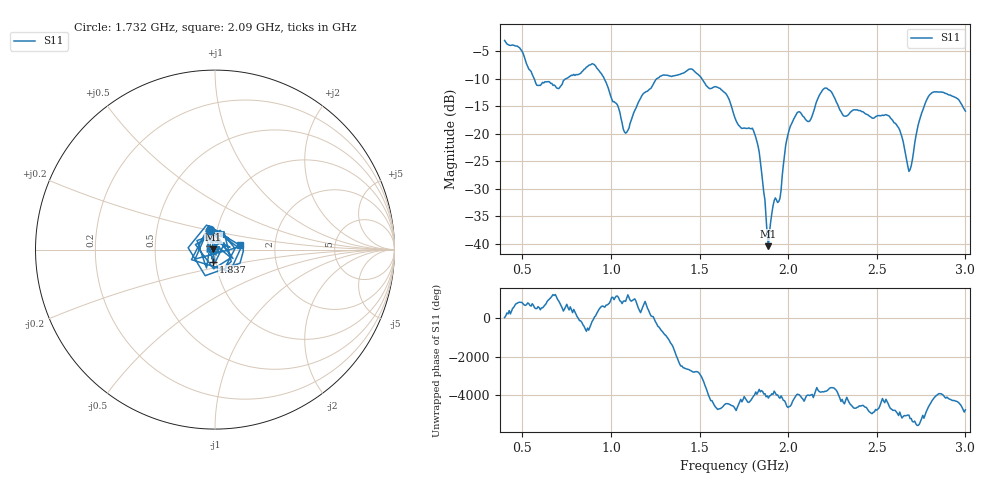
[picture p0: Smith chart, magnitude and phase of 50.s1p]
!Created with skrf (http://scikit-rf.org).
# Hz S RI R 50.0
!freq ReS11 ImS11
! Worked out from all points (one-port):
!   401 points, 400 MHz to 3 GHz, reference 50 ohm
!   lowest |S11| = -40.5 dB at 1.889 GHz (marker M1), VSWR 1.02, Z = 49.1 + j0.144 ohm
!   |S11| at or under -10 dB: 567.3 MHz to 744.1 MHz (176.8 MHz wide, 27 % of centre); 962.8 MHz to 1.257 GHz (294.5 MHz wide, 26.5 % of centre); 1.514 GHz to end of sweep
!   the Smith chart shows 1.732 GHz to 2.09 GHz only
!   S11 on the Smith chart (normalised r, x): 1.732 GHz: 0.93, +0.21; 1.837 GHz: 0.97, -0.13; 2.09 GHz: 1.32, +0.06
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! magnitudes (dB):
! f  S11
! 400 MHz  -3.0
! 491 MHz  -4.6
! 588.5 MHz  -11.2
! 725 MHz  -11.0
! 900.5 MHz  -7.3
! 1.05 GHz  -16.1
! 1.089 GHz  -19.7
! 1.258 GHz  -10.0
! 1.375 GHz  -9.3
! 1.453 GHz  -8.2
! 1.615 GHz  -11.7
! 1.7 GHz  -17.1
! 1.732 GHz  -18.9
! 1.798 GHz  -19.0
! 1.837 GHz  -23.3
! 1.889 GHz  -40.5
! 1.954 GHz  -31.8
! 1.992 GHz  -21.0
! 2.025 GHz  -17.8
! 2.09 GHz  -17.0
! 2.123 GHz  -17.6
! 2.207 GHz  -11.7
! 2.35 GHz  -16.1
! 2.571 GHz  -16.8
! 2.63 GHz  -19.3
! 2.675 GHz  -25.9
! 2.805 GHz  -12.7
! 3 GHz  -15.9
